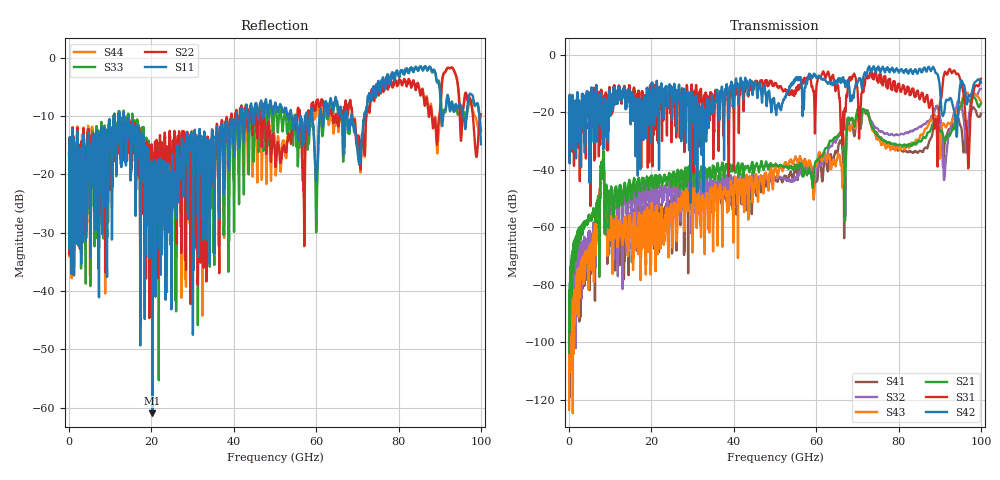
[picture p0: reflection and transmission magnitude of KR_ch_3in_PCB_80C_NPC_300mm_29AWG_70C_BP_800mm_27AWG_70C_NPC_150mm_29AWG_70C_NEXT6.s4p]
# Hz S RI R 45
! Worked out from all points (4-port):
!   4000 points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, 25 MHz to 100 GHz, reference 45 ohm
!   strongest paths, dB at 25 MHz, 25.02 GHz, 50.02 GHz, 75.03 GHz, 100 GHz:
!     S42: -20.7, -20.7, -18.8, -4.2, -9.7
!     S31: -20.7, -15.6, -10.1, -9.3, -8.4
!     S21: -103.8, -43.0, -38.3, -28.3, -17.0
!     S43: -123.5, -60.1, -39.5, -29.5, -16.4
!     S32: -108.5, -51.7, -42.9, -25.9, -11.9
!     S41: -112.1, -68.8, -43.0, -28.0, -20.5
!   lowest |S11| = -61.0 dB at 20.25 GHz (marker M1), VSWR 1.00, Z = 45 - j0.0803 ohm
!   |S11| at or under -10 dB: start of sweep to 10.95 GHz; 13.32 GHz to 40.64 GHz (27.31 GHz wide, 101 % of centre); 68.72 GHz to 71.7 GHz (2.978 GHz wide, 4.24 % of centre) (the widest 3 of 33)
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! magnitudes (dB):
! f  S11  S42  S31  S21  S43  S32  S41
! 25 MHz  -16.5  -20.7  -20.7  -103.8  -123.5  -108.5  -112.1
! 8.025 GHz  -28.5  -24.8  -24.7  -41.8  -38.7  -40.3  -39.0
! 20.25 GHz  -61.0  -11.9  -26.2  -46.1  -56.1  -50.8  -56.7
! 72.05 GHz  -9.4  -7.1  -7.8  -20.3  -20.6  -20.4  -20.0
! 91.25 GHz  -9.0  -18.2  -6.1  -30.3  -24.8  -41.5  -30.2
! 96.85 GHz  -7.7  -15.3  -36.1  -15.2  -13.4  -24.4  -23.8
! 100 GHz  -14.8  -9.7  -8.4  -17.0  -16.4  -11.9  -20.5
